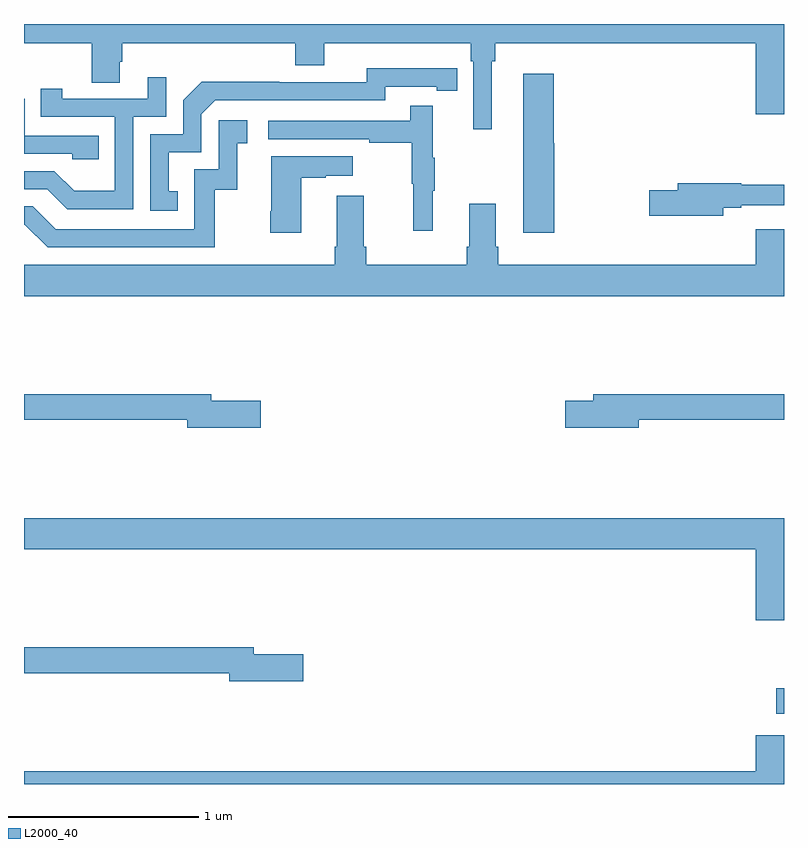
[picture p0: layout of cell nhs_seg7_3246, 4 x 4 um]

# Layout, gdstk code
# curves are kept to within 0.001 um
import gdstk
lib = gdstk.Library(unit=1e-6, precision=1e-09)
def R(c, l, rs):  # rectangles x0, y0, x1, y1
    for r in rs: c.add(gdstk.rectangle(r[:2], r[2:], *l))
def P(c, l, *ps):  # polygons
    for p in ps: c.add(gdstk.Polygon(p, *l))
L2000_40 = (2000, 40)

nhs_seg7_3246 = lib.new_cell('nhs_seg7_3246')
R(nhs_seg7_3246, L2000_40, [(320.958,1046.369,321,1046.504)])
P(nhs_seg7_3246, L2000_40, [(319.462,1049.804),(319.481,1049.804),(319.481,1049.9),(320.852,1049.9),(320.852,1049.526),(321,1049.526),(321,1050),(317,1050),(317,1049.9),(317.356,1049.9),(317.356,1049.692),(317.503,1049.692),(317.503,1049.802),(317.516,1049.802),(317.516,1049.9),(318.428,1049.9),(318.428,1049.783),(318.58,1049.783),(318.58,1049.9),(319.352,1049.9),(319.352,1049.804),(319.365,1049.804),(319.365,1049.445),(319.462,1049.445)],
  [(317.81,1049.121),(317.761,1049.121),(317.761,1049.325),(317.934,1049.325),(317.934,1049.526),(318.006,1049.598),(318.9,1049.598),(318.9,1049.67),(319.172,1049.67),(319.172,1049.65),(319.28,1049.65),(319.28,1049.766),(318.804,1049.767),(318.804,1049.694),(318.344,1049.694),(318.344,1049.696),(317.936,1049.696),(317.838,1049.598),(317.838,1049.421),(317.664,1049.421),(317.664,1049.016),(317.81,1049.016)],
  [(319.792,1049.373),(319.787,1049.373),(319.787,1049.737),(319.628,1049.737),(319.628,1048.902),(319.792,1048.902)],
  [(317.574,1049.511),(317.748,1049.511),(317.748,1049.719),(317.651,1049.719),(317.651,1049.607),(317.2,1049.607),(317.2,1049.659),(317.089,1049.659),(317.089,1049.511),(317.478,1049.511),(317.478,1049.122),(317.264,1049.122),(317.16,1049.226),(317,1049.226),(317,1049.13),(317.123,1049.13),(317.228,1049.025),(317.574,1049.025)],
  [(317.393,1049.412),(317.004,1049.412),(317.004,1049.607),(317,1049.607),(317,1049.316),(317.253,1049.316),(317.253,1049.289),(317.393,1049.289)],
  [(319.151,1049.123),(319.162,1049.123),(319.162,1049.297),(319.151,1049.297),(319.151,1049.569),(319.033,1049.569),(319.033,1049.49),(318.285,1049.49),(318.285,1049.394),(318.817,1049.394),(318.817,1049.374),(319.041,1049.374),(319.041,1049.16),(319.048,1049.16),(319.048,1048.911),(319.151,1048.911)],
  [(318.004,1049.127),(318.122,1049.127),(318.122,1049.373),(318.175,1049.373),(318.175,1049.494),(318.024,1049.494),(318.024,1049.235),(317.895,1049.235),(317.895,1048.92),(317.166,1048.92),(317.046,1049.04),(317,1049.04),(317,1048.944),(317.004,1048.944),(317.124,1048.824),(318.004,1048.824)],
  [(318.46,1049.191),(318.587,1049.191),(318.587,1049.201),(318.73,1049.201),(318.73,1049.305),(318.302,1049.305),(318.302,1049.014),(318.295,1049.014),(318.295,1048.902),(318.46,1048.902)],
  [(320.68,1049.034),(320.776,1049.034),(320.776,1049.046),(321,1049.046),(321,1049.155),(320.776,1049.155),(320.776,1049.162),(320.441,1049.162),(320.441,1049.126),(320.292,1049.126),(320.292,1048.991),(320.68,1048.991)],
  [(321,1048.921),(320.852,1048.921),(320.852,1048.732),(319.496,1048.732),(319.496,1048.828),(319.483,1048.828),(319.483,1049.053),(319.343,1049.053),(319.343,1048.828),(319.331,1048.828),(319.331,1048.732),(318.8,1048.732),(318.8,1048.828),(318.787,1048.828),(318.787,1049.095),(318.647,1049.095),(318.647,1048.828),(318.635,1048.828),(318.635,1048.732),(317,1048.732),(317,1048.568),(321,1048.568)],
  [(318.247,1048.016),(317.986,1048.016),(317.986,1048.052),(317,1048.052),(317,1047.916),(317.858,1047.916),(317.858,1047.874),(318.247,1047.874)],
  [(320.236,1047.916),(321,1047.916),(321,1048.052),(319.997,1048.052),(319.997,1048.016),(319.848,1048.016),(319.848,1047.874),(320.236,1047.874)],
  [(321,1047.4),(317,1047.4),(317,1047.236),(320.852,1047.236),(320.852,1046.862),(321,1046.862)],
  [(318.469,1046.684),(318.208,1046.684),(318.208,1046.72),(317,1046.72),(317,1046.584),(318.08,1046.584),(318.08,1046.542),(318.469,1046.542)],
  [(321,1046.257),(320.852,1046.257),(320.852,1046.068),(317,1046.068),(317,1046),(321,1046)])

lib.write_gds('nhs_seg7_3246.gds')
